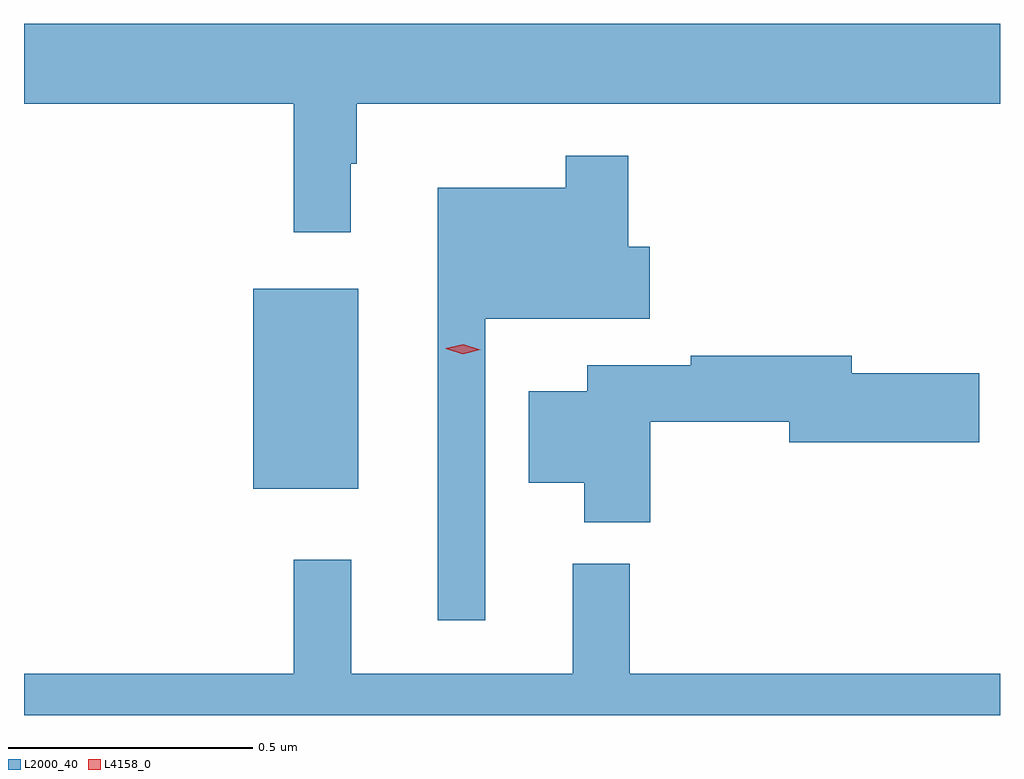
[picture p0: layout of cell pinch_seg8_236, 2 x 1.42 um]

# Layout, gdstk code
import gdstk
lib = gdstk.Library(unit=1e-6, precision=1e-09)
def R(c, l, rs):  # rectangles x0, y0, x1, y1
    for r in rs: c.add(gdstk.rectangle(r[:2], r[2:], *l))
def P(c, l, *ps):  # polygons
    for p in ps: c.add(gdstk.Polygon(p, *l))
L2000_40 = (2000, 40)
L4158_0 = (4158, 0)

pinch_seg8_236 = lib.new_cell('pinch_seg8_236')
R(pinch_seg8_236, L2000_40, [(695.492,1097.063,695.707,1097.473)])
P(pinch_seg8_236, L2000_40, [(695.692,1097.729),(695.704,1097.729),(695.704,1097.852),(697.022,1097.852),(697.022,1098.016),(695.022,1098.016),(695.022,1097.852),(695.575,1097.852),(695.575,1097.589),(695.692,1097.589)],
  [(695.967,1097.411),(696.304,1097.411),(696.304,1097.559),(696.26,1097.559),(696.26,1097.746),(696.132,1097.746),(696.132,1097.68),(695.87,1097.68),(695.87,1096.794),(695.967,1096.794)],
  [(696.305,1097.2),(696.59,1097.2),(696.59,1097.158),(696.979,1097.158),(696.979,1097.3),(696.718,1097.3),(696.718,1097.336),(696.388,1097.336),(696.388,1097.316),(696.176,1097.316),(696.176,1097.263),(696.056,1097.263),(696.056,1097.075),(696.17,1097.075),(696.17,1096.994),(696.305,1096.994)],
  [(695.693,1096.918),(695.575,1096.918),(695.575,1096.684),(695.022,1096.684),(695.022,1096.599),(697.022,1096.599),(697.022,1096.684),(696.263,1096.684),(696.263,1096.909),(696.146,1096.909),(696.146,1096.684),(695.693,1096.684)])
P(pinch_seg8_236, L4158_0, [(695.921,1097.339),(695.886,1097.35),(695.886,1097.351),(695.886,1097.351),(695.922,1097.359),(695.957,1097.348),(695.957,1097.348),(695.957,1097.348)])

lib.write_gds('pinch_seg8_236.gds')
